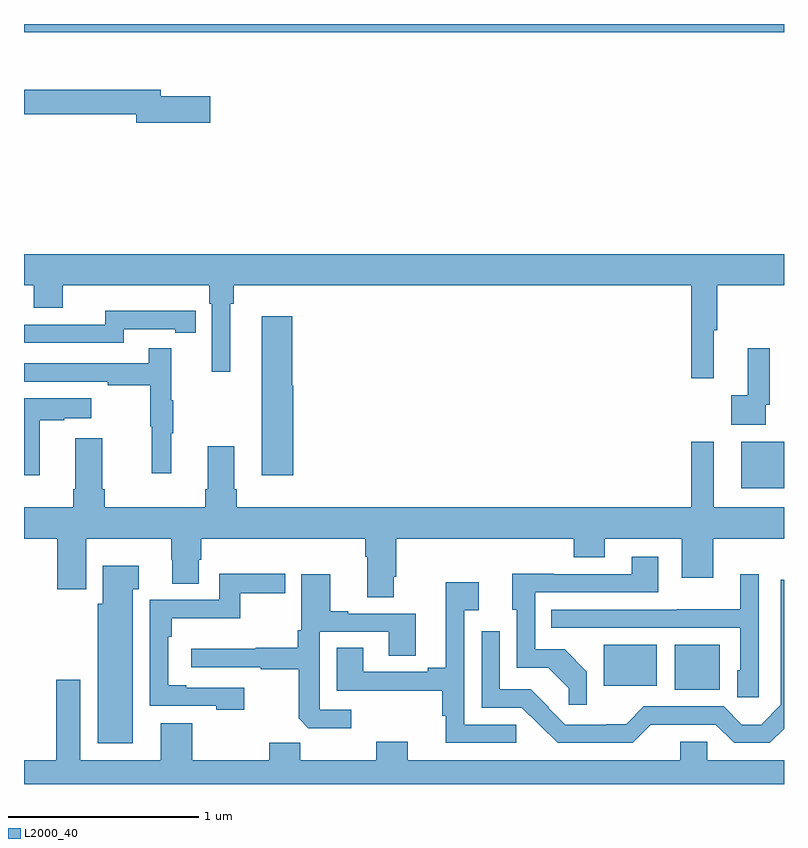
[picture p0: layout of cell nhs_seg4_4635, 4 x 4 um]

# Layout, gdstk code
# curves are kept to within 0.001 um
import gdstk
lib = gdstk.Library(unit=1e-6, precision=1e-09)
def R(c, l, rs):  # rectangles x0, y0, x1, y1
    for r in rs: c.add(gdstk.rectangle(r[:2], r[2:], *l))
def P(c, l, *ps):  # polygons
    for p in ps: c.add(gdstk.Polygon(p, *l))
L2000_40 = (2000, 40)

nhs_seg4_4635 = lib.new_cell('nhs_seg4_4635')
R(nhs_seg4_4635, L2000_40, [(364.424,757.397,364.663,757.633), (364.052,757.418,364.33,757.633), (364.775,758.456,365,758.701), (361,760.856,365,760.9)])
P(nhs_seg4_4635, L2000_40, [(361.981,760.521),(361.72,760.521),(361.72,760.555),(361,760.555),(361,760.426),(361.592,760.426),(361.592,760.379),(361.981,760.379)],
  [(364.631,759.288),(364.649,759.288),(364.649,759.524),(365,759.524),(365,759.688),(361,759.688),(361,759.524),(361.052,759.524),(361.052,759.407),(361.204,759.407),(361.204,759.524),(361.976,759.524),(361.976,759.428),(361.989,759.428),(361.989,759.069),(362.086,759.069),(362.086,759.428),(362.105,759.428),(362.105,759.524),(364.513,759.524),(364.513,759.036),(364.631,759.036)],
  [(361.524,759.294),(361.796,759.294),(361.796,759.274),(361.904,759.274),(361.904,759.39),(361.796,759.39),(361.796,759.391),(361.428,759.391),(361.428,759.318),(361,759.318),(361,759.222),(361.524,759.222)],
  [(362.416,758.997),(362.411,758.997),(362.411,759.361),(362.252,759.361),(362.252,758.526),(362.416,758.526)],
  [(364.905,758.896),(364.925,758.896),(364.925,759.193),(364.808,759.193),(364.808,758.945),(364.722,758.945),(364.722,758.792),(364.905,758.792)],
  [(361.775,758.747),(361.786,758.747),(361.786,758.921),(361.775,758.921),(361.775,759.193),(361.657,759.193),(361.657,759.114),(361,759.114),(361,759.018),(361.441,759.018),(361.441,758.998),(361.665,758.998),(361.665,758.784),(361.672,758.784),(361.672,758.535),(361.775,758.535)],
  [(361.084,758.815),(361.211,758.815),(361.211,758.825),(361.354,758.825),(361.354,758.929),(361,758.929),(361,758.526),(361.084,758.526)],
  [(362.947,757.99),(362.96,757.99),(362.96,758.192),(363.893,758.192),(363.893,758.093),(364.057,758.093),(364.057,758.192),(364.463,758.192),(364.463,757.986),(364.627,757.986),(364.627,758.192),(365,758.192),(365,758.356),(364.63,758.356),(364.63,758.701),(364.513,758.701),(364.513,758.356),(362.12,758.356),(362.12,758.452),(362.107,758.452),(362.107,758.677),(361.967,758.677),(361.967,758.452),(361.955,758.452),(361.955,758.356),(361.424,758.356),(361.424,758.452),(361.411,758.452),(361.411,758.719),(361.271,758.719),(361.271,758.452),(361.259,758.452),(361.259,758.356),(361,758.356),(361,758.192),(361.175,758.192),(361.175,757.926),(361.327,757.926),(361.327,758.192),(361.774,758.192),(361.774,758.079),(361.781,758.079),(361.781,757.954),(361.921,757.954),(361.921,758.079),(361.934,758.079),(361.934,758.192),(362.795,758.192),(362.795,758.096),(362.807,758.096),(362.807,757.882),(362.947,757.882)],
  [(363.963,757.492),(363.847,757.608),(363.69,757.608),(363.69,757.908),(364.339,757.908),(364.339,758.095),(364.199,758.095),(364.199,758.004),(363.787,758.004),(363.787,758.006),(363.569,758.006),(363.569,757.818),(363.594,757.818),(363.594,757.512),(363.76,757.512),(363.868,757.404),(363.868,757.317),(363.963,757.317)],
  [(361.573,757.925),(361.603,757.925),(361.603,758.05),(361.415,758.05),(361.415,757.848),(361.388,757.848),(361.388,757.115),(361.573,757.115)],
  [(362.158,757.407),(361.855,757.407),(361.855,757.42),(361.758,757.42),(361.758,757.676),(361.778,757.676),(361.778,757.772),(362.137,757.772),(362.137,757.903),(362.374,757.903),(362.374,758.006),(362.028,758.006),(362.028,757.869),(361.662,757.869),(361.662,757.311),(362.013,757.311),(362.013,757.292),(362.158,757.292)],
  [(362.722,757.29),(362.556,757.29),(362.556,757.701),(362.921,757.701),(362.921,757.576),(363.061,757.576),(363.061,757.797),(362.707,757.797),(362.707,757.81),(362.611,757.81),(362.611,758.005),(362.46,758.005),(362.46,757.708),(362.44,757.708),(362.44,757.616),(362.221,757.616),(362.221,757.612),(361.881,757.612),(361.881,757.515),(362.245,757.515),(362.245,757.503),(362.445,757.503),(362.445,757.245),(362.497,757.194),(362.722,757.194)],
  [(364.866,758.005),(364.769,758.005),(364.769,757.819),(364.435,757.819),(364.435,757.818),(363.775,757.818),(363.775,757.722),(364.77,757.722),(364.77,757.5),(364.754,757.5),(364.754,757.357),(364.866,757.357)],
  [(364.298,757.211),(364.641,757.212),(364.737,757.116),(364.924,757.116),(365,757.192),(365,757.974),(364.983,757.974),(364.983,757.317),(364.879,757.213),(364.778,757.213),(364.683,757.308),(364.263,757.308),(364.169,757.214),(364.064,757.214),(364.064,757.212),(363.849,757.212),(363.759,757.302),(363.761,757.304),(363.667,757.398),(363.504,757.398),(363.504,757.705),(363.408,757.705),(363.408,757.302),(363.621,757.302),(363.809,757.116),(364.203,757.116)],
  [(363.591,757.212),(363.318,757.212),(363.318,757.814),(363.394,757.814),(363.394,757.963),(363.221,757.963),(363.221,757.511),(363.125,757.511),(363.125,757.491),(362.785,757.491),(362.785,757.616),(362.645,757.616),(362.645,757.39),(363.202,757.39),(363.202,757.259),(363.221,757.259),(363.221,757.116),(363.591,757.116)],
  [(365,757.024),(364.596,757.024),(364.596,757.122),(364.454,757.122),(364.454,757.024),(363.019,757.024),(363.019,757.123),(362.855,757.123),(362.855,757.024),(362.455,757.024),(362.455,757.117),(362.291,757.117),(362.291,757.024),(361.885,757.024),(361.885,757.219),(361.721,757.219),(361.721,757.024),(361.297,757.024),(361.297,757.45),(361.169,757.45),(361.169,757.024),(361,757.024),(361,756.9),(365,756.9)])

lib.write_gds('nhs_seg4_4635.gds')
